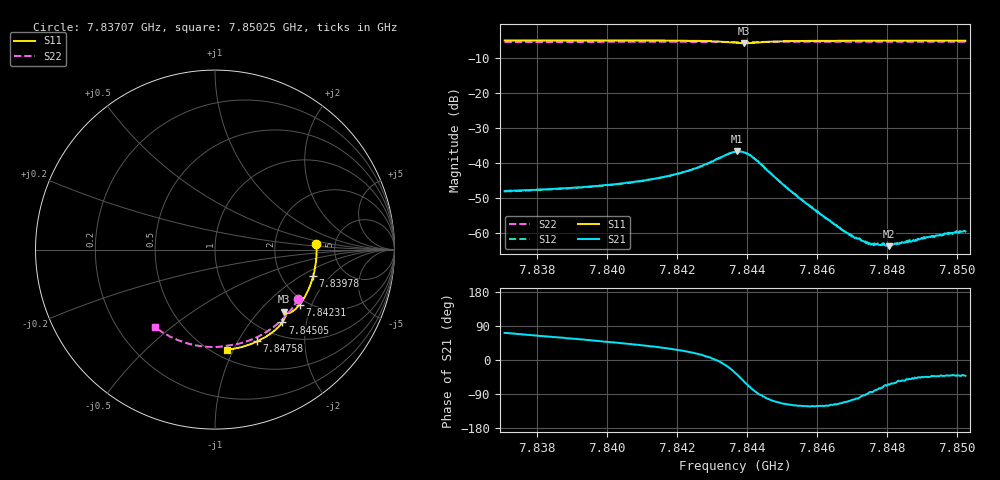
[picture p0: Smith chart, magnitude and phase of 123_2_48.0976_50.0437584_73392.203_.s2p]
#  HZ  S  RI  R  50.00
! Rohde & Schwarz Vector Network Analyzer
! Rohde-Schwarz,ZNB20-2Port,1311601062101988,3.16
! Created: UTC 12/23/2023, 3:47:00 AM
! freq[Hz]  re:S11  im:S11  re:S21  im:S21  re:S12  im:S12  re:S22  im:S22
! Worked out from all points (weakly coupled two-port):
!   401 points, 7.83707 GHz to 7.85025 GHz, reference 50 ohm
!   highest |S21| = -36.70 dB at 7.84373 GHz (marker M1); lowest = -63.8 dB at 7.84808 GHz (marker M2)
!   lowest |S11| = -5.7 dB at 7.84393 GHz (marker M3), VSWR 3.14, Z = 73.3 - j69.3 ohm
!   |S11| at or under -10 dB: nowhere
!   |S22| runs from -5.4 to -5.3 dB; largest |S21 - S12| = 0.00033
!   S11 on the Smith chart (normalised r, x): 7.83707 GHz: 3.58, +0.32; 7.83978 GHz: 2.99, -1.31; 7.84231 GHz: 1.83, -1.64; 7.84505 GHz: 1.25, -1.46; 7.84758 GHz: 0.81, -1.21; 7.85025 GHz: 0.58, -0.94
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7.837075e9  0.5653 0.0306  0.00125 0.00374  0.00128 0.00366  0.4643 -0.2747
7.839282e9  0.5549 -0.1157  0.00261 0.00363  0.00261 0.0036  0.3683 -0.3953
7.839776e9  0.5472 -0.1481  0.00305 0.00361  0.00298 0.0036  0.3426 -0.4182
7.840732e9  0.5263 -0.2094  0.00398 0.00352  0.00394 0.0035  0.2882 -0.4578
7.841489e9  0.5038 -0.2567  0.00508 0.00338  0.00501 0.00336  0.2419 -0.4839
7.842313e9  0.4715 -0.3064  0.00715 0.00288  0.00713 0.00291  0.1889 -0.5071
7.84317e9  0.4218 -0.3502  0.0114 -0.000356  0.0115 -0.000258  0.1312 -0.5244
7.843664e9  0.3876 -0.3529  0.0119 -0.008  0.012 -0.00777  0.0981 -0.5302
7.84373e9  0.3849 -0.351  0.0114 -0.00915  0.0113 -0.00901  0.0938 -0.5308
7.843927e9  0.3837 -0.3462  0.00754 -0.0118  0.00786 -0.0119  0.0815 -0.5327
7.844059e9  0.3867 -0.3463  0.00458 -0.0123  0.0048 -0.0124  0.0732 -0.5344
7.844224e9  0.3905 -0.3519  0.00165 -0.0113  0.0017 -0.0114  0.0622 -0.5365
7.845048e9  0.3755 -0.4056  -0.00208 -0.00441  -0.00204 -0.00445  0.00469 -0.5428
7.845871e9  0.3348 -0.4488  -0.00117 -0.00192  -0.00121 -0.00198  -0.0532 -0.541
7.846431e9  0.3036 -0.4723  -0.000664 -0.00124  -0.000696 -0.00123  -0.0923 -0.5359
7.846991e9  0.2713 -0.4927  -0.000238 -0.000857  -0.000278 -0.000884  -0.131 -0.5284
7.84742e9  0.2456 -0.5062  2.63e-06 -0.000742  -2.19e-05 -0.000704  -0.16 -0.5206
7.847584e9  0.2355 -0.5112  6.58e-05 -0.000696  4.45e-05 -0.000693  -0.171 -0.5171
7.848079e9  0.205 -0.5243  0.000272 -0.000583  0.00031 -0.000616  -0.2037 -0.5055
7.84877e9  0.1613 -0.5394  0.0005 -0.000592  0.000521 -0.000584  -0.2479 -0.4859
7.849199e9  0.1336 -0.5467  0.000612 -0.00061  0.00064 -0.000603  -0.2744 -0.4716
7.850253e9  0.0647 -0.5587  0.00078 -0.000695  0.0008 -0.000713  -0.3359 -0.4305
